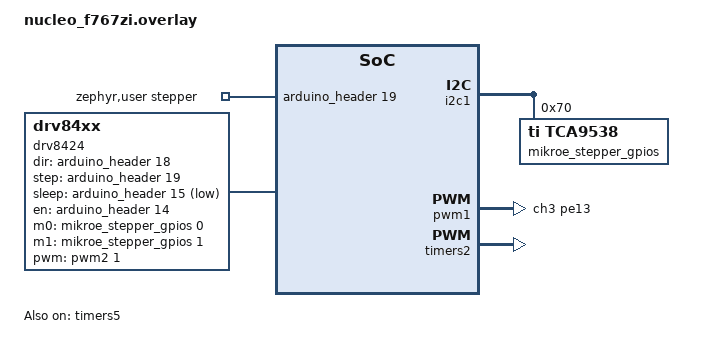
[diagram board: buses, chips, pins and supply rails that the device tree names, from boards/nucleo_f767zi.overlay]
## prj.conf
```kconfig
CONFIG_PRINTK=y
CONFIG_COUNTER=y
CONFIG_GPIO=y
CONFIG_PWM=y
```

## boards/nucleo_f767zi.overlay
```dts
/*
 * Copyright (c) 2023-2024 TiaC Systems
 * SPDX-License-Identifier: Apache-2.0
 */

#include <zephyr/dt-bindings/stepper/stepper.h>
#include <zephyr/dt-bindings/gpio/gpio.h>

/ {
	zephyr,user {
		stepper-motors = <&drv8424 0>;
		stepper-gpios  = < &arduino_header 19 0 >; /* D13 / PWM */
	};
};

&i2c1 {
        status = "okay";

        mikroe_stepper_gpios: mikroe_stepper_ctrl_tca9538a@70 {
                status = "okay";
                compatible = "ti,tca9538";

                reg = < 0x70 >;

                gpio-controller;
                ngpios = < 8 >;
                #gpio-cells = < 2 >;

                gpio-reserved-ranges = < 7 1 >;

                gpio-line-names =
			"M0",
			"M1",
			"DEC0",
			"DEC1",
			"TOFF",
			"STP",
			"DIR";
        };
};

/ {

        drv8424: drv8424 {
                status = "okay";
                compatible = "drv84xx";

                fs-max-speed = < 500000 >; /* Steps/s */

                dir-gpios = < &arduino_header 18 0 >; /* D12 */
		pwms = <&pwm2 1 PWM_SEC(1) PWM_POLARITY_NORMAL>;
		step-gpios = < &arduino_header 19 0 >; /* D13 */
                sleep-gpios = < &arduino_header 15 GPIO_ACTIVE_LOW >; /* D9 */
                en-gpios  = < &arduino_header 14 0 >; /* D8 */
                m0-gpios = < &mikroe_stepper_gpios 0 0 >;
                m1-gpios = < &mikroe_stepper_gpios 1 0 >;
		counter-obj = < &counter5 >;

		nmotors = < 1 >;
		#address-cells = < 1 >;
		#size-cells = < 0 >;
		#stepper-motor-cells = < 1 >;

		drv8424_motor: motor@0 {
			reg = < 0 >;
			fs-per-turn = < 200 >;
			microstep-res = < STEPPER_USTEP_RES_1 >;
		};
	};
};

&pwm1 {
	pinctrl-0 = < &tim1_ch3_pe13 >;
};

&timers2 {
	status = "okay";
	pwm2: pwm {
		status = "okay";
		pinctrl-0 = < &tim2_ch1_pa5 >;
		pinctrl-names = "default";
	};
	counter2: counter {
                status = "okay";
        };
};

&timers5 {
	status = "okay";
	counter5: counter {
                status = "okay";
		label = "counter5";
        };
};
```

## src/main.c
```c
/*
 * Copyright (c) 2019 Linaro Limited
 *
 * SPDX-License-Identifier: Apache-2.0
 */

#include <math.h>
#include <stdio.h>
#include <zephyr/kernel.h>

#include <zephyr/device.h>
#include <zephyr/drivers/counter.h>
#include <zephyr/drivers/gpio.h>
#include <zephyr/drivers/pinctrl.h>
#include <zephyr/drivers/pwm.h>
#include <zephyr/sys/printk.h>

#define DELAY 250000
#define TOP 2500
#define ALARM_CHANNEL_ID 0

struct counter_alarm_cfg alarm_cfg;

static const struct gpio_dt_spec pin_stepper =
    GPIO_DT_SPEC_GET(DT_PATH(zephyr_user), stepper_gpios);
static const struct gpio_dt_spec m0 =
    GPIO_DT_SPEC_GET(DT_PATH(drv8424), m0_gpios);
static const struct gpio_dt_spec m1 =
    GPIO_DT_SPEC_GET(DT_PATH(drv8424), m1_gpios);

// #if defined(CONFIG_BOARD_SAMD20_XPRO)
// #define TIMER DT_NODELABEL(tc4)
// #elif defined(CONFIG_SOC_FAMILY_ATMEL_SAM)
// #define TIMER DT_NODELABEL(tc0)
// #elif defined(CONFIG_COUNTER_MICROCHIP_MCP7940N)
// #define TIMER DT_NODELABEL(extrtc0)
// #elif defined(CONFIG_COUNTER_NRF_RTC)
// #define TIMER DT_NODELABEL(rtc0)
// #elif defined(CONFIG_COUNTER_TIMER_STM32)
// #define TIMER DT_INST(0, st_stm32_counter)
// #elif defined(CONFIG_COUNTER_RTC_STM32)
// #define TIMER DT_INST(0, st_stm32_rtc)
// #elif defined(CONFIG_COUNTER_SMARTBOND_TIMER)
// #define TIMER DT_NODELABEL(timer3)
// #elif defined(CONFIG_COUNTER_NATIVE_POSIX)
// #define TIMER DT_NODELABEL(counter0)
// #elif defined(CONFIG_COUNTER_XLNX_AXI_TIMER)
// #define TIMER DT_INST(0, xlnx_xps_timer_1_00_a)
// #elif defined(CONFIG_COUNTER_TMR_ESP32)
// #define TIMER DT_NODELABEL(timer0)
// #elif defined(CONFIG_COUNTER_MCUX_CTIMER)
// #define TIMER DT_NODELABEL(ctimer0)
// #elif defined(CONFIG_COUNTER_NXP_S32_SYS_TIMER)
// #define TIMER DT_NODELABEL(stm0)
// #elif defined(CONFIG_COUNTER_TIMER_GD32)
// #define TIMER DT_NODELABEL(timer0)
// #elif defined(CONFIG_COUNTER_GECKO_RTCC)
// #define TIMER DT_NODELABEL(rtcc0)
// #elif defined(CONFIG_COUNTER_GECKO_STIMER)
// #define TIMER DT_NODELABEL(stimer0)
// #elif defined(CONFIG_COUNTER_INFINEON_CAT1)
// #define TIMER DT_NODELABEL(counter0_0)
// #elif defined(CONFIG_COUNTER_AMBIQ)
// #define TIMER DT_NODELABEL(counter0)
// #elif defined(CONFIG_COUNTER_SNPS_DW)
// #define TIMER DT_NODELABEL(timer0)
// #elif defined(CONFIG_COUNTER_TIMER_RPI_PICO)
// #define TIMER DT_NODELABEL(timer)
// #else
// #error Unable to find a counter device node in devicetree
// #endif

#define TIMER DT_NODELABEL(counter2)
#define ACCURATE_STEPS 15

enum Ramp_State { RAMP_ACCELERATION, RAMP_CONST, RAMP_DECELERATION, RAMP_NONE };

struct callback_data {
	enum Ramp_State ramp_state;
	float current_time;
	float base_time;
	struct counter_top_cfg *top_cfg;
	uint32_t accel_steps;
	uint32_t const_steps;
	uint32_t decel_steps;
	uint32_t n;
	bool rising;
};

static void test_counter_top_fn(const struct device *dev, void *user_data) {
	struct callback_data *data;
	data = (struct callback_data *)user_data;

	float t_1;

	if (data->ramp_state == RAMP_ACCELERATION) {
		if (!data->rising) {
			data->n++;
			gpio_pin_set_dt(&pin_stepper, 0);
		} else {
			if (data->n >
			    ACCURATE_STEPS) { /* Use Approximation, once error
						 is small enough*/
				float t_n_1 = data->current_time;
				float adjust = 2 * t_n_1 / (4 * data->n + 1);
				t_1 = t_n_1 - adjust;
			} else {
				t_1 = data->base_time *
				      (sqrtf(data->n + 1) - sqrtf(data->n));
			}
			data->top_cfg->ticks =
			    counter_us_to_ticks(dev, (uint32_t)t_1 / 2);
			data->current_time = t_1;
			gpio_pin_set_dt(&pin_stepper, 1);
			counter_set_top_value(dev, data->top_cfg);
		}
	}
	if (data->ramp_state == RAMP_CONST) {
		if (!data->rising) {
			data->n++;
			gpio_pin_set_dt(&pin_stepper, 0);
		} else {
			gpio_pin_set_dt(&pin_stepper, 1);
		}
	}
	if (data->ramp_state == RAMP_DECELERATION) {
		if (!data->rising) {
			data->n--;
			gpio_pin_set_dt(&pin_stepper, 0);
		} else {
			if (data->n >
			    ACCURATE_STEPS) { /* Use Approximation, as long as
						 error is small enough*/
				float t_n = data->current_time;
				float adjust = 2 * t_n / (4 * data->n - 1);
				t_1 = t_n + adjust;
			} else {
				t_1 = data->base_time *
				      (sqrtf(data->n + 1) - sqrtf(data->n));
			}
			data->top_cfg->ticks =
			    counter_us_to_ticks(dev, (uint32_t)t_1 / 2);
			data->current_time = t_1;
			gpio_pin_set_dt(&pin_stepper, 1);
			counter_set_top_value(dev, data->top_cfg);
		}
	}
	data->rising = !data->rising;

	if (data->ramp_state == RAMP_ACCELERATION &&
	    data->n - 1 == data->accel_steps) {
		if (data->const_steps == 0) {
			data->ramp_state = RAMP_DECELERATION;
			data->n = data->decel_steps;
		} else {
			data->ramp_state = RAMP_CONST;
			data->n = 1;
		}
		printk("%u\n", (uint32_t)data->current_time);
	}
	if (data->ramp_state == RAMP_CONST &&
	    data->n - 1 == data->const_steps) {
		data->ramp_state = RAMP_DECELERATION;
		data->n = data->decel_steps;
	}
	if (data->ramp_state == RAMP_DECELERATION && data->n == 0) {
		data->ramp_state = RAMP_NONE;
		counter_stop(dev);
	}
}

static void trapeze_deceleration(const struct device *dev, void *user_data) {
	struct callback_data *data;
	data = (struct callback_data *)user_data;

	float t_1;

	if (!data->rising) {
		data->n--;
		gpio_pin_set_dt(&pin_stepper, 0);
	} else {
		uint32_t n_adjusted =
		    data->n -1; /* data->n is 1 larger than actual value to
				    prevent overflow*/
		if (data->n > ACCURATE_STEPS) { /* Use Approximation, as long as
						   error is small enough*/
			float t_n = data->current_time;
			float adjust = 2 * t_n / (4 * n_adjusted - 1);
			t_1 = t_n + adjust;
		} else {
			t_1 = data->base_time *
			      (sqrtf(n_adjusted + 1) - sqrtf(n_adjusted));
		}
		data->top_cfg->ticks =
		    counter_us_to_ticks(dev, (uint32_t)t_1 / 2);
		data->current_time = t_1;
		gpio_pin_set_dt(&pin_stepper, 1);
		counter_set_top_value(dev, data->top_cfg);
	}
	data->rising = !data->rising;

	if (data->n == 0) {
		counter_stop(dev);
		printk("Finished\n");
	}
}

static void trapeze_constant(const struct device *dev, void *user_data) {
	struct callback_data *data;
	data = (struct callback_data *)user_data;

	if (!data->rising) {
		data->n++;
		gpio_pin_set_dt(&pin_stepper, 0);
	} else {
		gpio_pin_set_dt(&pin_stepper, 1);
	}
	data->rising = !data->rising;

	if (data->n == data->const_steps) {
		data->n = data->decel_steps;
		data->top_cfg->callback = trapeze_deceleration;
		counter_set_top_value(dev, data->top_cfg);
	}
}

static void trapeze_acceleration(const struct device *dev, void *user_data) {
	struct callback_data *data;
	data = (struct callback_data *)user_data;

	float t_1;

	if (!data->rising) {
		data->n++;
		gpio_pin_set_dt(&pin_stepper, 0);
	} else {
		if (data->n > ACCURATE_STEPS) { /* Use Approximation, once error
						   is small enough*/
			float t_n_1 = data->current_time;
			float adjust = 2 * t_n_1 / (4 * data->n + 1);
			t_1 = t_n_1 - adjust;
		} else {
			t_1 = data->base_time *
			      (sqrtf(data->n + 1) - sqrtf(data->n));
		}
		data->top_cfg->ticks =
		    counter_us_to_ticks(dev, (uint32_t)t_1 / 2);
		data->current_time = t_1;
		gpio_pin_set_dt(&pin_stepper, 1);
		counter_set_top_value(dev, data->top_cfg);
	}
	data->rising = !data->rising;

	if (data->n == data->accel_steps) {
		if (data->const_steps == 0) {
			data->n = data->decel_steps;
			data->top_cfg->callback = trapeze_deceleration;
			counter_set_top_value(dev, data->top_cfg);
			counter_stop(dev);
		} else {
			data->n = 0;
			data->top_cfg->callback = trapeze_constant;
			counter_set_top_value(dev, data->top_cfg);
		}
	}
}

int main(void) {
	const struct device *const counter_dev = DEVICE_DT_GET(TIMER);
	gpio_pin_configure_dt(&pin_stepper, GPIO_OUTPUT_INACTIVE);
	gpio_pin_configure_dt(
	    &m0,
	    GPIO_OUTPUT_ACTIVE); /* Activating microstep mode, not required*/
	gpio_pin_configure_dt(
	    &m1,
	    GPIO_OUTPUT_ACTIVE); /* Activating microstep mode, not required*/

	printk("Trapeze signal sample\n\n");

	if (!device_is_ready(counter_dev)) {
		printk("device not ready.\n");
		return 0;
	}

	/* Input Area*/
	float velocity = 6400;	       /* steps/s*/
	uint32_t steps = 12800 + 6400; /* steps*/
	float accel_time = 2.0;	       /* s*/

	uint32_t accel_steps = (velocity * accel_time) / 2; /* steps*/
	uint32_t decel_steps = accel_steps;		    /* steps*/
	uint32_t const_steps;				    /* steps*/

	if (2 * accel_steps > steps) { /* Max speed not achievable*/
		const_steps = 0;
		if ((2 * accel_steps - steps) % 2 == 0) {
			accel_steps =
			    accel_steps - (2 * accel_steps - steps) / 2;
			decel_steps = accel_steps;
		} else {
			accel_steps =
			    accel_steps - (2 * accel_steps - steps) / 2;
			decel_steps = accel_steps;
			accel_steps++; /* Compensate for uneven number of
					  steps*/
		}
	} else {
		const_steps = steps - 2 * accel_steps;
	}

	float acceleration =
	    (velocity * velocity) / (2 * accel_steps); /* steps/s² */
	float t_1 = sqrt(2.0 / acceleration) *
		    1000000U; /* micro s (via 1000000), 2.0 contains *1 step*/

	struct callback_data cb_data;
	cb_data.ramp_state = RAMP_ACCELERATION;
	cb_data.current_time = t_1;
	cb_data.base_time = t_1;
	cb_data.accel_steps = accel_steps;
	cb_data.const_steps = const_steps;
	cb_data.decel_steps = decel_steps;
	cb_data.n = 0;
	cb_data.rising = true;

	struct counter_top_cfg top_cfg;
	top_cfg.callback = trapeze_acceleration;
	top_cfg.ticks = counter_us_to_ticks(counter_dev, (uint32_t)t_1 / 2);
	top_cfg.user_data = &cb_data;
	top_cfg.flags = COUNTER_TOP_CFG_DONT_RESET;

	cb_data.top_cfg = &top_cfg;

	counter_set_top_value(counter_dev, &top_cfg);
	counter_start(counter_dev);

	while (1) {
		k_sleep(K_FOREVER);
	}
	return 0;
}
```
